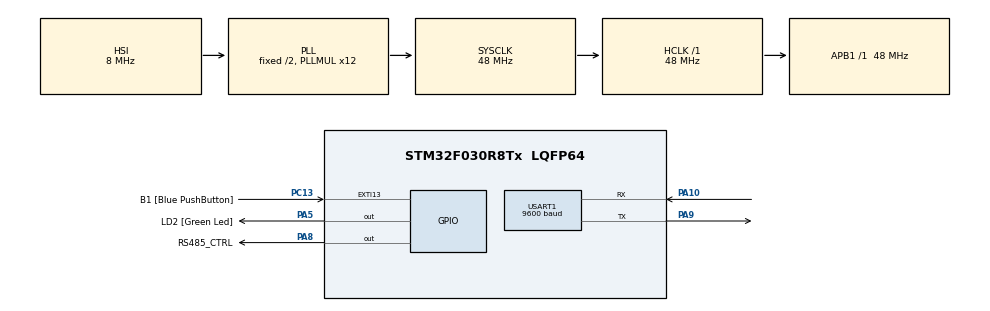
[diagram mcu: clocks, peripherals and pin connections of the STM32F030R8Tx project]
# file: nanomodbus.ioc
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Mcu.Family=STM32F0
Mcu.Name=STM32F030R8Tx
Mcu.Package=LQFP64
NVIC.USART1_IRQn=true\:0\:0\:false\:false\:true\:true\:true\:true
PA10.Mode=Asynchronous
PA10.Signal=USART1_RX
PA13.GPIO_Label=TMS
PA13.Mode=Serial_Wire
PA13.Signal=SYS_SWDIO
PA14.GPIO_Label=TCK
PA14.Mode=Serial_Wire
PA14.Signal=SYS_SWCLK
PA2.GPIO_Label=USART_TX
PA2.GPIO_Mode=GPIO_MODE_AF_PP
PA2.GPIO_PuPd=GPIO_NOPULL
PA2.GPIO_Speed=GPIO_SPEED_FREQ_LOW
PA2.Signal=USART2_TX
PA3.GPIO_Label=USART_RX
PA3.GPIO_Mode=GPIO_MODE_AF_PP
PA3.GPIO_PuPd=GPIO_NOPULL
PA3.GPIO_Speed=GPIO_SPEED_FREQ_LOW
PA3.Signal=USART2_RX
PA5.GPIO_Label=LD2 [Green Led]
PA5.GPIO_Mode=GPIO_MODE_OUTPUT_PP
PA5.GPIO_PuPd=GPIO_NOPULL
PA5.GPIO_Speed=GPIO_SPEED_FREQ_LOW
PA5.Signal=GPIO_Output
PA8.GPIO_Label=RS485_CTRL
PA8.Signal=GPIO_Output
PA9.Mode=Asynchronous
PA9.Signal=USART1_TX
PC13.GPIO_Label=B1 [Blue PushButton]
PC13.GPIO_ModeDefaultEXTI=GPIO_MODE_IT_FALLING
PC13.Signal=GPXTI13
PC14-OSC32_IN.Mode=LSE-External-Oscillator
PC14-OSC32_IN.Signal=RCC_OSC32_IN
PC15-OSC32_OUT.Mode=LSE-External-Oscillator
PC15-OSC32_OUT.Signal=RCC_OSC32_OUT
PF0-OSC_IN.Mode=HSE-External-Clock-Source
PF0-OSC_IN.Signal=RCC_OSC_IN
PF1-OSC_OUT.Signal=RCC_OSC_OUT
ProjectManager.HeapSize=0x200
ProjectManager.StackSize=0x400
ProjectManager.TargetToolchain=STM32CubeIDE
RCC.AHBFreq_Value=48000000
RCC.APB1Freq_Value=48000000
RCC.APB1TimFreq_Value=48000000
RCC.HCLKFreq_Value=48000000
RCC.PLLMUL=RCC_PLL_MUL12
RCC.SYSCLKFreq_VALUE=48000000
RCC.SYSCLKSource=RCC_SYSCLKSOURCE_PLLCLK
USART1.BaudRate=9600
USART1.VirtualMode-Asynchronous=VM_ASYNC
board=NUCLEO-F030R8

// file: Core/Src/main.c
/* USER CODE BEGIN Header */
/**
 ******************************************************************************
 * @file           : main.c
 * @brief          : Main program body
 ******************************************************************************
 * @attention
 *
 * Copyright (c) 2024 STMicroelectronics.
 * All rights reserved.
 *
 * This software is licensed under terms that can be found in the LICENSE file
 * in the root directory of this software component.
 * If no LICENSE file comes with this software, it is provided AS-IS.
 *
 ******************************************************************************
 */
/* USER CODE END Header */
#include "main.h"

/* USER CODE BEGIN Includes */
#include "nanomodbus.h"
#include "stdio.h"
/* USER CODE END Includes */

UART_HandleTypeDef huart1;

/* USER CODE BEGIN PV */
nmbs_platform_conf platform_conf;

uint16_t counter = 0;
uint16_t counter2 = 0;
uint16_t read_value;
uint16_t r_regs[2];
uint16_t okunan[20];

/* USER CODE END PV */

void SystemClock_Config(void);
static void MX_GPIO_Init(void);
static void MX_USART1_UART_Init(void);

/* USER CODE BEGIN 0 */
void RS485_SetTransmitMode(void) {
	HAL_GPIO_WritePin(RS485_CTRL_GPIO_Port, RS485_CTRL_Pin, GPIO_PIN_SET); // DE ve RE'yi etkinleştir
}

void RS485_SetReceiveMode(void) {
	HAL_GPIO_WritePin(RS485_CTRL_GPIO_Port, RS485_CTRL_Pin, GPIO_PIN_RESET); // DE ve RE'yi devre dışı bırak
}
int32_t uart_read(uint8_t *buf, uint16_t count, int32_t timeout_ms, void *arg) {
	RS485_SetReceiveMode(); // Alıcı moduna geç
	HAL_StatusTypeDef status = HAL_UART_Receive(&huart1, buf, count,
			timeout_ms);
	if (status == HAL_OK)
		return count;
	return -1;
}

int32_t uart_write(const uint8_t *buf, uint16_t count, int32_t timeout_ms,
		void *arg) {
	RS485_SetTransmitMode(); // Verici moduna geç
	HAL_StatusTypeDef status = HAL_UART_Transmit(&huart1, (uint8_t*) buf, count,
			timeout_ms);
	if (status == HAL_OK) {
		// Gönderme tamamlandığında tekrar alıcı moduna geç
		RS485_SetReceiveMode();
		return count;
	}
	return -1;

}
/* USER CODE END 0 */

int main(void) {

	/* MCU Configuration--------------------------------------------------------*/

	/* Reset of all peripherals, Initializes the Flash interface and the Systick. */
	HAL_Init();

	/* Configure the system clock */
	SystemClock_Config();

	/* Initialize all configured peripherals */
	MX_GPIO_Init();
	MX_USART1_UART_Init();
	/* USER CODE BEGIN 2 */
	nmbs_platform_conf_create(&platform_conf);
	platform_conf.transport = NMBS_TRANSPORT_RTU;
	platform_conf.read = uart_read;
	platform_conf.write = uart_write;

	// MODBUS istemcisini oluştur
	nmbs_t nmbs;
	nmbs_error err = nmbs_client_create(&nmbs, &platform_conf);
	if (err != NMBS_ERROR_NONE) {
		Error_Handler();
	}

	// Timeout değerlerini ayarla
	nmbs_set_byte_timeout(&nmbs, 100);
	nmbs_set_read_timeout(&nmbs, 1000);

	// Hedef slave adresini ayarla (örn: 1)
	nmbs_set_destination_rtu_address(&nmbs, 1);

	// Write 2 holding registers at address 26
//  uint16_t w_regs[2] = {123, 124};
//  err = nmbs_write_multiple_registers(&nmbs, 1, 2, w_regs);
//  if (err != NMBS_ERROR_NONE) {
//      fprintf(stderr, "Error writing register at address 26 - %s", nmbs_strerror(err));
//      return 1;
//  }
	// Read 2 holding registers from address 26
//	uint16_t r_regs[2];
//	err = nmbs_read_holding_registers(&nmbs, 1, 1, r_regs);
//	if (err != NMBS_ERROR_NONE) {
//		fprintf(stderr,
//				"Error reading 2 holding registers at address 26 - %s\n",
//				nmbs_strerror(err));
//		return 1;
//	}

//		nmbs_write_single_register(&nmbs, 0, 000);
//		nmbs_write_single_register(&nmbs, 1, 413);
//		nmbs_write_single_register(&nmbs, 2, 213);

/////////

//		nmbs_read_holding_registers(&nmbs, 0, 3, okunan);

//  nmbs_write_single_register(&nmbs, 6, 6);
//  err = nmbs_write_single_register(&nmbs, 2, 9);
//  if (err != NMBS_ERROR_NONE) {
//      fprintf(stderr, "Error writing register at address 1 - %s", nmbs_strerror(err));
//      return 1;
//  }
	/* USER CODE END 2 */

	/* Infinite loop */
	/* USER CODE BEGIN WHILE */
	while (1) {
//				nmbs_write_single_register(&nmbs, 1, counter);
//				nmbs_write_single_register(&nmbs, 2, counter);
				uint16_t w_regs[2] = {counter, counter2};
				nmbs_write_multiple_registers(&nmbs, 1, 2, w_regs);
				counter++;
				counter2 += 2;

//		  err = nmbs_write_single_register(&nmbs, 1, counter);
//		  if (err != NMBS_ERROR_NONE) {
////		      fprintf(stderr, "Error writing register at address 1 - %s", nmbs_strerror(err));
//		      return 1;
//		  }
//		counter++;
//		HAL_Delay(1000);
//
//		err = nmbs_read_holding_registers(&nmbs, 1, 1, r_regs);
//		if (err != NMBS_ERROR_NONE) {
//			fprintf(stderr,
//					"Error reading 2 holding registers at address 26 - %s\n",
//					nmbs_strerror(err));
//			return 1;
//		}
//		uint16_t w_regs[2] = { counter, counter2 };
//		err = nmbs_write_multiple_registers(&nmbs, 1, 2, w_regs);
//		if (err != NMBS_ERROR_NONE) {
//			fprintf(stderr, "Error writing register at address 26 - %s",
//					nmbs_strerror(err));
//			return 1;
//		}
//		counter++;
//		counter2 += 5;
//		HAL_Delay(1000);
		/* USER CODE END WHILE */
	}
}

void SystemClock_Config(void) {
	RCC_OscInitTypeDef RCC_OscInitStruct = { 0 };
	RCC_ClkInitTypeDef RCC_ClkInitStruct = { 0 };
	RCC_PeriphCLKInitTypeDef PeriphClkInit = { 0 };

	/** Initializes the RCC Oscillators according to the specified parameters
	 * in the RCC_OscInitTypeDef structure.
	 */
	RCC_OscInitStruct.OscillatorType = RCC_OSCILLATORTYPE_HSI;
	RCC_OscInitStruct.HSIState = RCC_HSI_ON;
	RCC_OscInitStruct.HSICalibrationValue = RCC_HSICALIBRATION_DEFAULT;
	RCC_OscInitStruct.PLL.PLLState = RCC_PLL_ON;
	RCC_OscInitStruct.PLL.PLLSource = RCC_PLLSOURCE_HSI;
	RCC_OscInitStruct.PLL.PLLMUL = RCC_PLL_MUL12;
	RCC_OscInitStruct.PLL.PREDIV = RCC_PREDIV_DIV1;
	if (HAL_RCC_OscConfig(&RCC_OscInitStruct) != HAL_OK) {
		Error_Handler();
	}

	/** Initializes the CPU, AHB and APB buses clocks
	 */
	RCC_ClkInitStruct.ClockType = RCC_CLOCKTYPE_HCLK | RCC_CLOCKTYPE_SYSCLK
			| RCC_CLOCKTYPE_PCLK1;
	RCC_ClkInitStruct.SYSCLKSource = RCC_SYSCLKSOURCE_PLLCLK;
	RCC_ClkInitStruct.AHBCLKDivider = RCC_SYSCLK_DIV1;
	RCC_ClkInitStruct.APB1CLKDivider = RCC_HCLK_DIV1;

	if (HAL_RCC_ClockConfig(&RCC_ClkInitStruct, FLASH_LATENCY_1) != HAL_OK) {
		Error_Handler();
	}
	PeriphClkInit.PeriphClockSelection = RCC_PERIPHCLK_USART1;
	PeriphClkInit.Usart1ClockSelection = RCC_USART1CLKSOURCE_PCLK1;
	if (HAL_RCCEx_PeriphCLKConfig(&PeriphClkInit) != HAL_OK) {
		Error_Handler();
	}
}

static void MX_USART1_UART_Init(void) {

	huart1.Instance = USART1;
	huart1.Init.BaudRate = 9600;
	huart1.Init.WordLength = UART_WORDLENGTH_8B;
	huart1.Init.StopBits = UART_STOPBITS_1;
	huart1.Init.Parity = UART_PARITY_NONE;
	huart1.Init.Mode = UART_MODE_TX_RX;
	huart1.Init.HwFlowCtl = UART_HWCONTROL_NONE;
	huart1.Init.OverSampling = UART_OVERSAMPLING_16;
	huart1.Init.OneBitSampling = UART_ONE_BIT_SAMPLE_DISABLE;
	huart1.AdvancedInit.AdvFeatureInit = UART_ADVFEATURE_NO_INIT;
	if (HAL_UART_Init(&huart1) != HAL_OK) {
		Error_Handler();
	}

}

static void MX_GPIO_Init(void) {
	GPIO_InitTypeDef GPIO_InitStruct = { 0 };

	/* GPIO Ports Clock Enable */
	__HAL_RCC_GPIOC_CLK_ENABLE();
	__HAL_RCC_GPIOF_CLK_ENABLE();
	__HAL_RCC_GPIOA_CLK_ENABLE();

	/*Configure GPIO pin Output Level */
	HAL_GPIO_WritePin(GPIOA, LD2_Pin | RS485_CTRL_Pin, GPIO_PIN_RESET);

	/*Configure GPIO pin : B1_Pin */
	GPIO_InitStruct.Pin = B1_Pin;
	GPIO_InitStruct.Mode = GPIO_MODE_IT_FALLING;
	GPIO_InitStruct.Pull = GPIO_NOPULL;
	HAL_GPIO_Init(B1_GPIO_Port, &GPIO_InitStruct);

	/*Configure GPIO pins : USART_TX_Pin USART_RX_Pin */
	GPIO_InitStruct.Pin = USART_TX_Pin | USART_RX_Pin;
	GPIO_InitStruct.Mode = GPIO_MODE_AF_PP;
	GPIO_InitStruct.Pull = GPIO_NOPULL;
	GPIO_InitStruct.Speed = GPIO_SPEED_FREQ_LOW;
	GPIO_InitStruct.Alternate = GPIO_AF1_USART2;
	HAL_GPIO_Init(GPIOA, &GPIO_InitStruct);

	/*Configure GPIO pins : LD2_Pin RS485_CTRL_Pin */
	GPIO_InitStruct.Pin = LD2_Pin | RS485_CTRL_Pin;
	GPIO_InitStruct.Mode = GPIO_MODE_OUTPUT_PP;
	GPIO_InitStruct.Pull = GPIO_NOPULL;
	GPIO_InitStruct.Speed = GPIO_SPEED_FREQ_LOW;
	HAL_GPIO_Init(GPIOA, &GPIO_InitStruct);

}

void Error_Handler(void) {
	__disable_irq();
	while (1) {
	}
}
